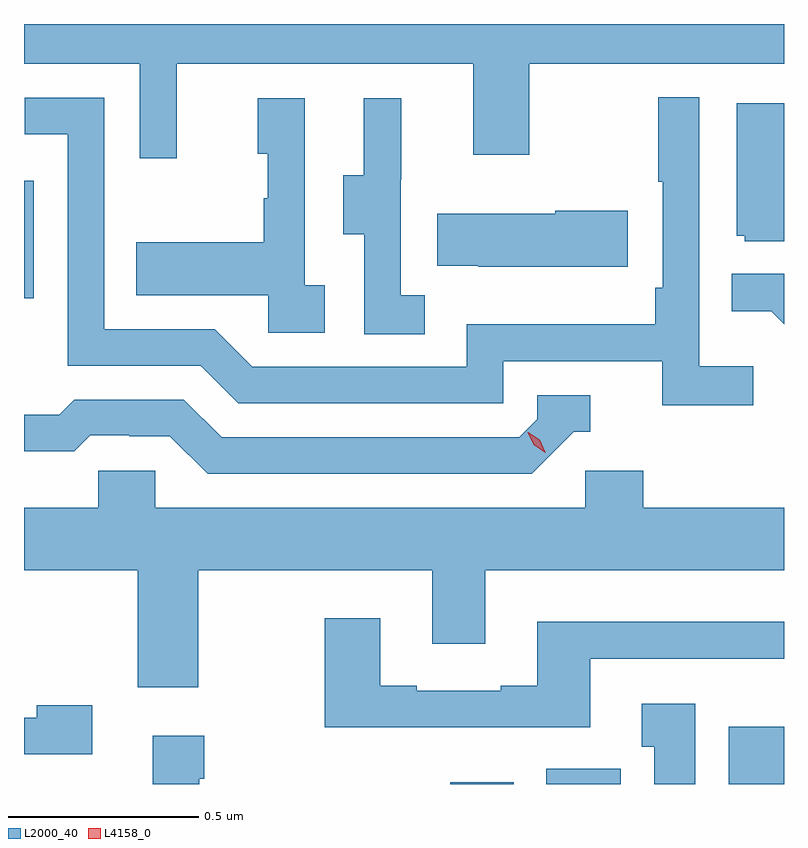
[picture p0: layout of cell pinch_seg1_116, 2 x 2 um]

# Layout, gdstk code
import gdstk
lib = gdstk.Library(unit=1e-6, precision=1e-09)
def R(c, l, rs):  # rectangles x0, y0, x1, y1
    for r in rs: c.add(gdstk.rectangle(r[:2], r[2:], *l))
def P(c, l, *ps):  # polygons
    for p in ps: c.add(gdstk.Polygon(p, *l))
L2000_40 = (2000, 40)
L4158_0 = (4158, 0)

pinch_seg1_116 = lib.new_cell('pinch_seg1_116')
R(pinch_seg1_116, L2000_40, [(1026.395,561.825,1026.562,561.829), (1026.647,561.825,1026.843,561.865), (1027.127,561.825,1027.273,561.976), (1025.273,563.103,1025.298,563.412)])
P(pinch_seg1_116, L2000_40, [(1025.675,563.72),(1026.455,563.72),(1026.455,563.481),(1026.603,563.481),(1026.603,563.72),(1027.273,563.72),(1027.273,563.825),(1025.273,563.825),(1025.273,563.72),(1025.577,563.72),(1025.577,563.472),(1025.675,563.472)],
  [(1027.192,562.924),(1027.05,562.924),(1027.05,563.632),(1026.942,563.632),(1026.942,563.41),(1026.954,563.41),(1026.954,563.131),(1026.934,563.131),(1026.934,563.035),(1026.438,563.035),(1026.438,562.923),(1025.874,562.923),(1025.775,563.022),(1025.484,563.022),(1025.484,563.631),(1025.275,563.631),(1025.275,563.535),(1025.388,563.535),(1025.388,562.926),(1025.738,562.926),(1025.837,562.827),(1026.534,562.827),(1026.534,562.938),(1026.953,562.938),(1026.953,562.822),(1027.192,562.822)],
  [(1026.064,563.138),(1026.012,563.138),(1026.012,563.629),(1025.888,563.629),(1025.888,563.484),(1025.914,563.484),(1025.914,563.366),(1025.904,563.366),(1025.904,563.251),(1025.569,563.251),(1025.569,563.111),(1025.916,563.111),(1025.916,563.013),(1026.064,563.013)],
  [(1026.328,563.111),(1026.264,563.111),(1026.264,563.415),(1026.266,563.415),(1026.266,563.629),(1026.167,563.629),(1026.167,563.427),(1026.113,563.427),(1026.113,563.272),(1026.168,563.272),(1026.168,563.008),(1026.328,563.008)],
  [(1027.273,563.617),(1027.148,563.617),(1027.148,563.268),(1027.17,563.268),(1027.17,563.253),(1027.273,563.253)],
  [(1026.862,563.334),(1026.671,563.334),(1026.671,563.326),(1026.361,563.326),(1026.361,563.189),(1026.469,563.189),(1026.469,563.186),(1026.862,563.186)],
  [(1027.273,563.168),(1027.135,563.168),(1027.135,563.069),(1027.239,563.069),(1027.273,563.035)],
  [(1026.72,562.752),(1026.763,562.752),(1026.763,562.848),(1026.624,562.848),(1026.624,562.785),(1026.576,562.737),(1025.793,562.737),(1025.694,562.836),(1025.405,562.836),(1025.366,562.797),(1025.273,562.797),(1025.273,562.701),(1025.405,562.701),(1025.447,562.743),(1025.55,562.743),(1025.55,562.74),(1025.657,562.74),(1025.756,562.641),(1026.609,562.641)],
  [(1025.732,562.388),(1026.347,562.388),(1026.347,562.194),(1026.487,562.194),(1026.487,562.388),(1027.273,562.388),(1027.273,562.552),(1026.902,562.552),(1026.902,562.65),(1026.75,562.65),(1026.75,562.552),(1025.619,562.552),(1025.619,562.65),(1025.469,562.65),(1025.469,562.552),(1025.273,562.552),(1025.273,562.388),(1025.572,562.388),(1025.572,562.08),(1025.732,562.08)],
  [(1026.763,562.155),(1027.273,562.155),(1027.273,562.252),(1026.623,562.252),(1026.623,562.084),(1026.527,562.084),(1026.527,562.071),(1026.307,562.071),(1026.307,562.084),(1026.211,562.084),(1026.211,562.261),(1026.064,562.261),(1026.064,561.974),(1026.763,561.974)],
  [(1027.039,562.036),(1026.899,562.036),(1026.899,561.923),(1026.932,561.923),(1026.932,561.825),(1027.039,561.825)],
  [(1025.452,562.032),(1025.307,562.032),(1025.307,561.999),(1025.273,561.999),(1025.273,561.903),(1025.452,561.903)],
  [(1025.734,561.839),(1025.747,561.839),(1025.747,561.952),(1025.612,561.952),(1025.612,561.825),(1025.734,561.825)])
P(pinch_seg1_116, L4158_0, [(1026.645,562.697),(1026.615,562.718),(1026.599,562.751),(1026.599,562.751),(1026.6,562.751),(1026.63,562.731),(1026.645,562.698),(1026.645,562.697)])

lib.write_gds('pinch_seg1_116.gds')
